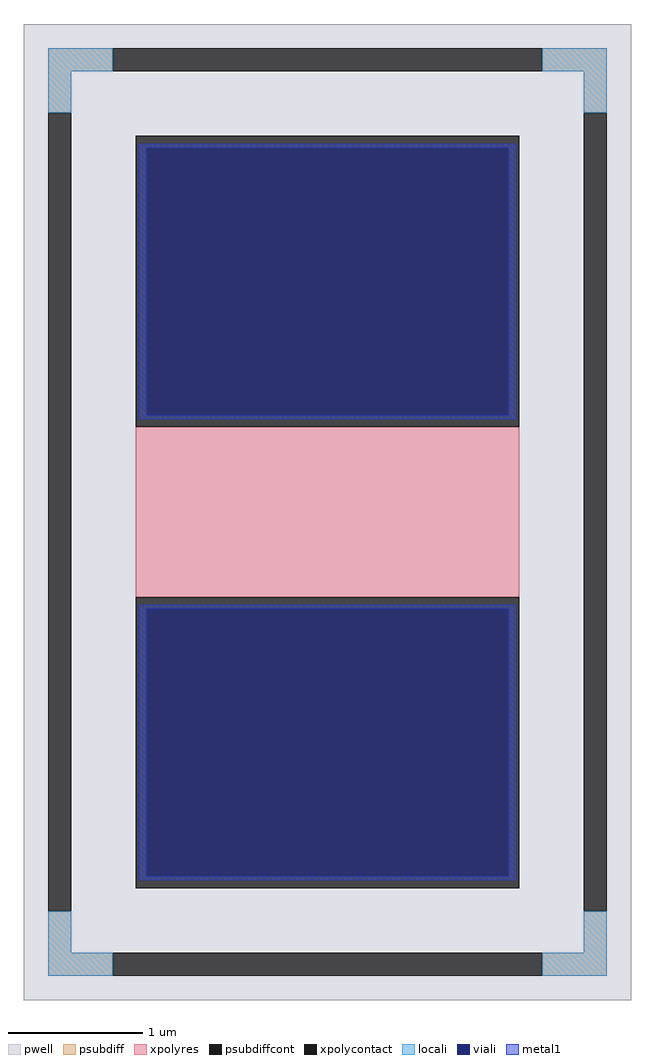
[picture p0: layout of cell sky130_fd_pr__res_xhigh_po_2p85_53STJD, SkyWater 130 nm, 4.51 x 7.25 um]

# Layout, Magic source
magic
tech sky130A
magscale 1 2
<< pwell >>
rect -451 -725 451 725
<< psubdiff >>
rect -415 655 -319 689
rect 319 655 415 689
rect -415 593 -381 655
rect 381 593 415 655
rect -415 -655 -381 -593
rect 381 -655 415 -593
rect -415 -689 -319 -655
rect 319 -689 415 -655
<< psubdiffcont >>
rect -319 655 319 689
rect -415 -593 -381 593
rect 381 -593 415 593
rect -319 -689 319 -655
<< xpolycontact >>
rect -285 127 285 559
rect -285 -559 285 -127
<< xpolyres >>
rect -285 -127 285 127
<< locali >>
rect -415 655 -319 689
rect 319 655 415 689
rect -415 593 -381 655
rect 381 593 415 655
rect -415 -655 -381 -593
rect 381 -655 415 -593
rect -415 -689 -319 -655
rect 319 -689 415 -655
<< viali >>
rect -269 144 269 541
rect -269 -541 269 -144
<< metal1 >>
rect -281 541 281 547
rect -281 144 -269 541
rect 269 144 281 541
rect -281 138 281 144
rect -281 -144 281 -138
rect -281 -541 -269 -144
rect 269 -541 281 -144
rect -281 -547 281 -541
<< properties >>
string FIXED_BBOX -398 -672 398 672
string gencell sky130_fd_pr__res_xhigh_po_2p85
string library sky130
string parameters w 2.850 l 1.43 m 1 nx 1 wmin 2.850 lmin 0.50 rho 2000 val 1.135k dummy 0 dw 0.0 term 188.2 sterm 0.0 caplen 0 wmax 2.850 guard 1 glc 1 grc 1 gtc 1 gbc 1 compatible {sky130_fd_pr__res_xhigh_po_0p35  sky130_fd_pr__res_xhigh_po_0p69 sky130_fd_pr__res_xhigh_po_1p41  sky130_fd_pr__res_xhigh_po_2p85 sky130_fd_pr__res_xhigh_po_5p73} snake 0 full_metal 1 n_guard 0 hv_guard 0 vias 1 viagb 0 viagt 0 viagl 0 viagr 0
<< end >>
